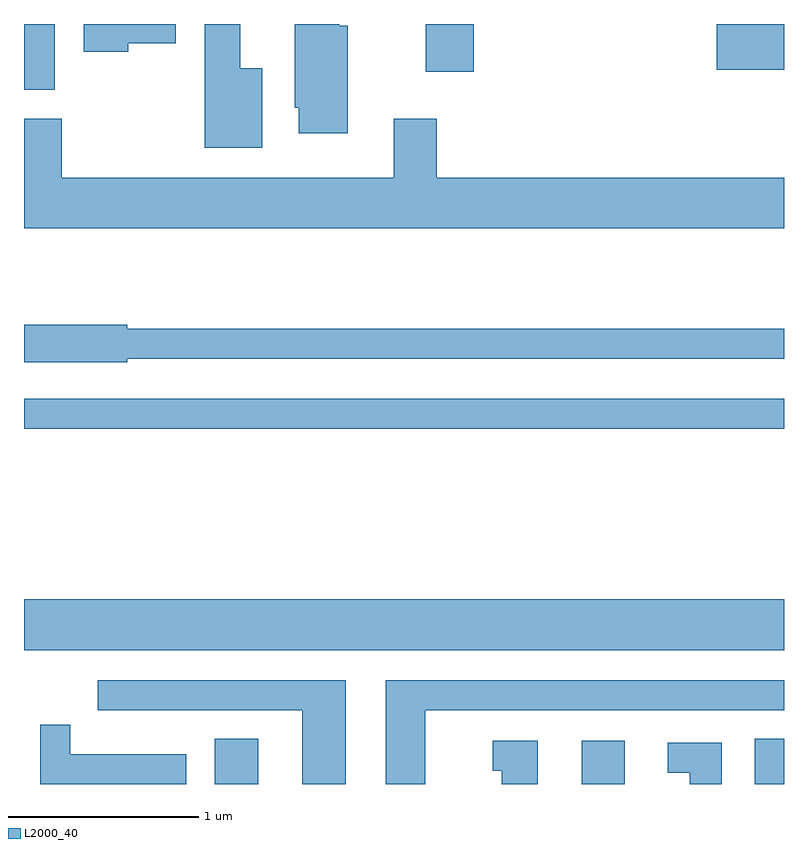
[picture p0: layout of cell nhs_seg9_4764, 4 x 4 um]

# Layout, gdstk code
import gdstk
lib = gdstk.Library(unit=1e-6, precision=1e-09)
def R(c, l, rs):  # rectangles x0, y0, x1, y1
    for r in rs: c.add(gdstk.rectangle(r[:2], r[2:], *l))
def P(c, l, *ps):  # polygons
    for p in ps: c.add(gdstk.Polygon(p, *l))
L2000_40 = (2000, 40)

nhs_seg9_4764 = lib.new_cell('nhs_seg9_4764')
R(nhs_seg9_4764, L2000_40, [(326.616,2004.432,326.844,2004.669), (328.546,2004.432,328.774,2004.659), (329.456,2004.432,329.611,2004.669), (325.611,2005.136,329.611,2005.404), (325.611,2006.301,329.611,2006.459), (325.611,2008.086,325.774,2008.432), (327.726,2008.181,327.979,2008.432), (329.256,2008.191,329.611,2008.432)])
P(nhs_seg9_4764, L2000_40, [(327.314,2008.424),(327.269,2008.424),(327.269,2008.432),(327.036,2008.432),(327.036,2007.991),(327.056,2007.991),(327.056,2007.856),(327.314,2007.856)],
  [(326.864,2008.199),(326.749,2008.199),(326.749,2008.432),(326.561,2008.432),(326.561,2007.781),(326.864,2007.781)],
  [(326.159,2008.331),(326.409,2008.331),(326.409,2008.432),(325.926,2008.432),(325.926,2008.286),(326.159,2008.286)],
  [(329.611,2007.624),(327.784,2007.624),(327.784,2007.934),(327.556,2007.934),(327.556,2007.624),(325.809,2007.624),(325.809,2007.934),(325.611,2007.934),(325.611,2007.356),(329.611,2007.356)],
  [(326.154,2006.671),(329.611,2006.671),(329.611,2006.829),(326.154,2006.829),(326.154,2006.849),(325.611,2006.849),(325.611,2006.651),(326.154,2006.651)],
  [(327.724,2004.821),(329.611,2004.821),(329.611,2004.979),(327.516,2004.979),(327.516,2004.432),(327.724,2004.432)],
  [(327.304,2004.979),(325.998,2004.979),(325.998,2004.821),(327.076,2004.821),(327.076,2004.432),(327.304,2004.432)],
  [(326.464,2004.589),(325.854,2004.589),(325.854,2004.743),(325.696,2004.743),(325.696,2004.432),(326.464,2004.432)],
  [(328.314,2004.659),(328.078,2004.659),(328.078,2004.501),(328.126,2004.501),(328.126,2004.432),(328.314,2004.432)],
  [(329.284,2004.649),(328.998,2004.649),(328.998,2004.491),(329.116,2004.491),(329.116,2004.432),(329.284,2004.432)])

lib.write_gds('nhs_seg9_4764.gds')
